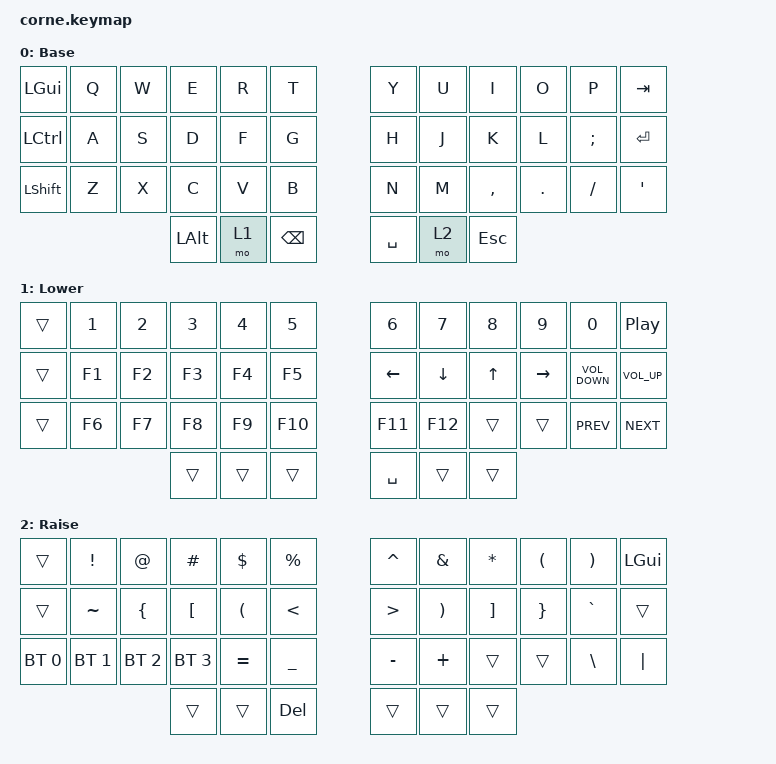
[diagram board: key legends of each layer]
#include <behaviors.dtsi>
#include <dt-bindings/zmk/bt.h>
#include <dt-bindings/zmk/keys.h>

/ {
    keymap {
        compatible = "zmk,keymap";

        default_layer {
            display-name = "Base";
            bindings = <
&kp LGUI    &kp Q  &kp W     &kp E  &kp R   &kp T        &kp Y      &kp U  &kp I      &kp O     &kp P      &kp TAB
&kp LCTRL   &kp A  &kp S     &kp D  &kp F   &kp G        &kp H      &kp J  &kp K      &kp L     &kp SEMI   &kp ENTER
&kp LSHFT   &kp Z  &kp X     &kp C  &kp V   &kp B        &kp N      &kp M  &kp COMMA  &kp DOT   &kp SLASH  &kp APOS
                   &kp LALT  &mo 1  &kp BACKSPACE        &kp SPACE  &mo 2  &kp ESC
            >;
        };

        lower_layer {
            display-name = "Lower";
            bindings = <
&trans  &kp N1  &kp N2  &kp N3  &kp N4  &kp N5     &kp N6     &kp N7    &kp N8  &kp N9     &kp N0             &kp C_PLAY_PAUSE
&trans  &kp F1  &kp F2  &kp F3  &kp F4  &kp F5     &kp LEFT   &kp DOWN  &kp UP  &kp RIGHT  &kp C_VOLUME_DOWN  &kp C_VOLUME_UP
&trans  &kp F6  &kp F7  &kp F8  &kp F9  &kp F10    &kp F11    &kp F12   &trans  &trans     &kp C_PREV         &kp C_NEXT
                        &trans  &trans  &trans     &kp SPACE  &trans    &trans
            >;
        };

        raise_layer {
            display-name = "Raise";
            bindings = <
&trans        &kp EXCL      &kp AT          &kp HASH      &kp DLLR              &kp PRCNT        &kp CARET         &kp AMPS               &kp ASTRK  &kp LPAR         &kp RPAR   &kp LGUI
&trans        &kp TILDE     &kp LEFT_BRACE  &kp LBKT      &kp LEFT_PARENTHESIS  &kp LESS_THAN    &kp GREATER_THAN  &kp RIGHT_PARENTHESIS  &kp RBKT   &kp RIGHT_BRACE  &kp GRAVE  &trans
&bt BT_SEL 0  &bt BT_SEL 1  &bt BT_SEL 2    &bt BT_SEL 3  &kp EQUAL             &kp UNDER        &kp MINUS         &kp PLUS               &trans     &trans           &kp BSLH   &kp PIPE
                                            &trans        &trans                &kp DELETE       &trans            &trans                 &trans
            >;
        };
    };
};
